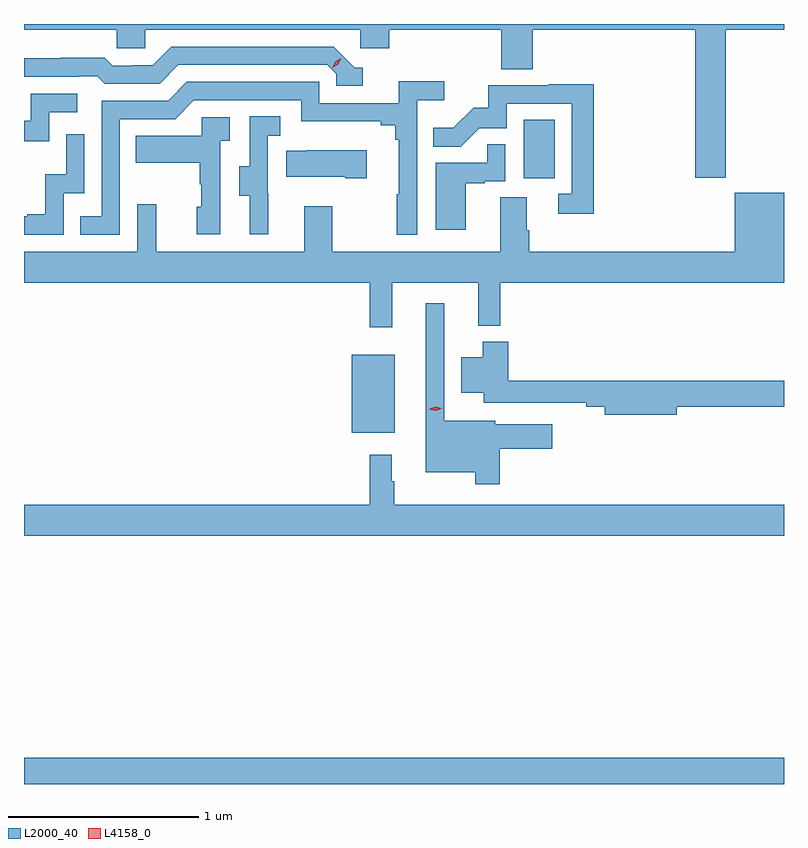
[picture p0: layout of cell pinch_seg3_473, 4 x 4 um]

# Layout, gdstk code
import gdstk
lib = gdstk.Library(unit=1e-6, precision=1e-09)
def R(c, l, rs):  # rectangles x0, y0, x1, y1
    for r in rs: c.add(gdstk.rectangle(r[:2], r[2:], *l))
def P(c, l, *ps):  # polygons
    for p in ps: c.add(gdstk.Polygon(p, *l))
L2000_40 = (2000, 40)
L4158_0 = (4158, 0)

pinch_seg3_473 = lib.new_cell('pinch_seg3_473')
R(pinch_seg3_473, L2000_40, [(935.736,680.962,939.736,681.1), (937.46,682.811,937.687,683.221), (938.366,684.15,938.53,684.457)])
P(pinch_seg3_473, L2000_40, [(935.736,684.932),(936.225,684.932),(936.225,684.834),(936.375,684.834),(936.375,684.932),(937.506,684.932),(937.506,684.834),(937.658,684.834),(937.658,684.932),(938.249,684.932),(938.249,684.724),(938.414,684.724),(938.414,684.932),(939.269,684.932),(939.269,684.153),(939.429,684.153),(939.429,684.932),(939.736,684.932),(939.736,684.962),(935.736,684.962)],
  [(937.519,684.732),(937.476,684.732),(937.365,684.843),(936.512,684.843),(936.413,684.744),(936.306,684.744),(936.306,684.741),(936.203,684.741),(936.161,684.784),(935.928,684.784),(935.928,684.781),(935.736,684.781),(935.736,684.684),(936.023,684.684),(936.023,684.687),(936.122,684.687),(936.161,684.648),(936.45,684.648),(936.549,684.747),(937.332,684.747),(937.38,684.699),(937.38,684.636),(937.519,684.636)],
  [(936.24,684.462),(936.531,684.462),(936.63,684.561),(937.194,684.561),(937.194,684.449),(937.613,684.449),(937.613,684.43),(937.69,684.43),(937.69,684.353),(937.709,684.353),(937.709,684.065),(937.698,684.065),(937.698,683.853),(937.806,683.853),(937.806,684.56),(937.948,684.56),(937.948,684.662),(937.709,684.662),(937.709,684.546),(937.29,684.546),(937.29,684.657),(936.593,684.657),(936.494,684.558),(936.144,684.558),(936.144,683.949),(936.031,683.949),(936.031,683.853),(936.24,683.853)],
  [(938.735,684.644),(938.497,684.644),(938.497,684.639),(938.179,684.639),(938.179,684.522),(938.102,684.522),(937.995,684.415),(937.891,684.415),(937.891,684.316),(938.035,684.316),(938.133,684.414),(938.277,684.414),(938.277,684.543),(938.619,684.543),(938.619,684.069),(938.547,684.069),(938.547,683.964),(938.735,683.964)],
  [(935.868,684.498),(936.016,684.498),(936.016,684.594),(935.772,684.594),(935.772,684.453),(935.736,684.453),(935.736,684.345),(935.868,684.345)],
  [(937.022,684.069),(937.02,684.069),(937.02,684.373),(937.084,684.373),(937.084,684.476),(936.924,684.476),(936.924,684.213),(936.869,684.213),(936.869,684.058),(936.923,684.058),(936.923,683.856),(937.022,683.856)],
  [(936.768,684.347),(936.82,684.347),(936.82,684.471),(936.672,684.471),(936.672,684.373),(936.325,684.373),(936.325,684.233),(936.66,684.233),(936.66,684.119),(936.67,684.119),(936.67,684),(936.644,684),(936.644,683.856),(936.768,683.856)],
  [(935.946,684.072),(936.054,684.072),(936.054,684.382),(935.958,684.382),(935.958,684.17),(935.849,684.17),(935.849,683.962),(935.753,683.962),(935.753,683.949),(935.736,683.949),(935.736,683.853),(935.946,683.853)],
  [(938.062,684.123),(938.162,684.123),(938.162,684.135),(938.268,684.135),(938.268,684.329),(938.173,684.329),(938.173,684.231),(937.904,684.231),(937.904,683.88),(938.062,683.88)],
  [(937.54,684.298),(937.225,684.298),(937.225,684.295),(937.117,684.295),(937.117,684.158),(937.427,684.158),(937.427,684.151),(937.54,684.151)],
  [(937.673,683.6),(938.126,683.6),(938.126,683.375),(938.243,683.375),(938.243,683.6),(939.736,683.6),(939.736,684.073),(939.476,684.073),(939.476,683.764),(938.396,683.764),(938.396,683.876),(938.383,683.876),(938.383,684.05),(938.243,684.05),(938.243,683.764),(937.359,683.764),(937.359,684.004),(937.211,684.004),(937.211,683.764),(936.431,683.764),(936.431,684.013),(936.333,684.013),(936.333,683.764),(935.736,683.764),(935.736,683.6),(937.555,683.6),(937.555,683.367),(937.673,683.367)],
  [(938.24,682.726),(938.515,682.726),(938.515,682.855),(938.217,682.855),(938.217,682.873),(937.947,682.873),(937.947,683.491),(937.85,683.491),(937.85,682.604),(938.112,682.604),(938.112,682.539),(938.24,682.539)],
  [(939.172,682.948),(939.736,682.948),(939.736,683.084),(938.285,683.084),(938.285,683.29),(938.15,683.29),(938.15,683.209),(938.036,683.209),(938.036,683.021),(938.156,683.021),(938.156,682.968),(938.696,682.968),(938.696,682.948),(938.792,682.948),(938.792,682.906),(939.172,682.906)],
  [(939.736,682.432),(937.684,682.432),(937.684,682.556),(937.672,682.556),(937.672,682.696),(937.555,682.696),(937.555,682.432),(935.736,682.432),(935.736,682.268),(939.736,682.268)])
P(pinch_seg3_473, L4158_0, [(937.902,682.927),(937.866,682.934),(937.866,682.934),(937.866,682.934),(937.9,682.947),(937.936,682.939),(937.937,682.939),(937.936,682.939)],
  [(937.358,684.731),(937.358,684.731),(937.374,684.764),(937.405,684.783),(937.406,684.783),(937.406,684.783),(937.389,684.75),(937.358,684.731)])

lib.write_gds('pinch_seg3_473.gds')
